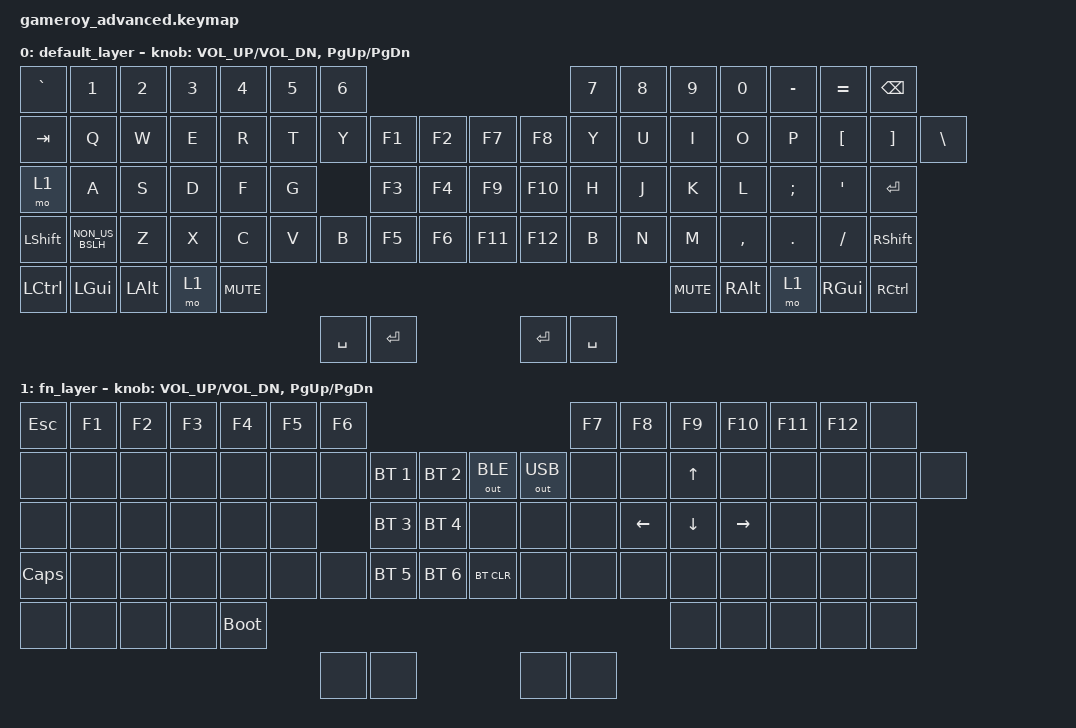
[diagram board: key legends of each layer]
#include <behaviors.dtsi>
#include <dt-bindings/zmk/keys.h>
#include <dt-bindings/zmk/bt.h>
#include <dt-bindings/zmk/outputs.h>
/ {
    keymap {
        compatible = "zmk,keymap";

        default_layer {
// --------------------------------------------------------------------------------------------------------------------------------------------------------------------
// |   `/~   |    1    |    2    |    3    |    4    |    5    |    6    |                                                                       |    7    |    8    |    9    |    0    |    -    |    =    |   BSPC  |
// |   TAB   |    Q    |    W    |    E    |    R    |    T    |    Y    |    |   F1    |   F2    |                  |   F7    |   F8   |    |    Y    |    U    |    I    |    O    |    P    |    [    |    ]    |    \    |
// |   CAPS  |    A    |    S    |    D    |    F    |    G    |              |   F3    |   F4    |                  |   F9    |   F10  |    |    H    |    J    |    K    |    L    |   ;     |    '    |   ENTER |
// |  SHIFT  |    \    |    Z    |    X    |    C    |    V    |    B    |    |   F5    |   F6    |                  |   F11   |   F12  |    |    B    |    N    |    M    |    ,    |    .    |    /    |   SHIFT |
// |  CTRL   | GUI  |  ALT  |  Fn  |                                          |   MUTE  |                                      |  MUTE  |                                           | ALT |  Fn  |  GUI  |   CTRL  | 
// |                                                                |  SPACE  |  ENTER  |                                      |  ENTER |  SPACE  |
// | Left enconder vol up down                                                                                        Right enconder page up down  
            bindings = <
	&kp GRAVE  &kp N1          &kp N2   &kp N3    &kp N4    &kp N5    &kp N6                                                                        &kp N7      &kp N8    &kp N9    &kp N0    &kp MINUS  &kp EQUAL  &kp BSPC
    &kp TAB    &kp Q           &kp W    &kp E     &kp R     &kp T     &kp Y     &kp F1     &kp F2                      &kp F7    &kp F8       &kp Y       &kp U       &kp I     &kp O     &kp P     &kp LBKT   &kp RBKT   &kp BSLH
    &mo 1      &kp A           &kp S    &kp D     &kp F     &kp G               &kp F3     &kp F4                      &kp F9    &kp F10      &kp H       &kp J     &kp K     &kp L     &kp SEMI   &kp APOS   &kp ENTER
    &kp LSHIFT &kp NON_US_BSLH &kp Z    &kp X     &kp C     &kp V     &kp B     &kp F5     &kp F6                      &kp F11   &kp F12      &kp B       &kp N     &kp M     &kp COMMA &kp DOT    &kp SLASH  &kp RSHIFT
    &kp LCTRL  &kp LGUI        &kp LALT &mo 1                                   &kp C_MUTE                                       &kp C_MUTE                                   &kp RALT  &mo 1      &kp RGUI   &kp RCTRL
	                                                                  &kp SPACE &kp ENTER                                        &kp ENTER   &kp SPACE       
            >;

            sensor-bindings = <&inc_dec_kp C_VOL_UP C_VOL_DN &inc_dec_kp PG_UP PG_DN>;
        };

        fn_layer {
// --------------------------------------------------------------------------------------------------------------------------------------------------------------------
// |  ESC    |   F1    |   F2    |   F3    |   F4    |   F5    |   F6    |                                                                   |   F7    |   F8    |   F9    |   F10   |   F11   |   F12   |         |
// |         |         |         |         |         |         |         |    |  BT1    |  BT2    |                  |   BT    |  USB   |    |         |         |         |         |         |         |         |
// |         |         |         |         |         |         |              |  BT3    |  BT4    |                  |         |        |    |         |         |         |         |         |         |         |
// |         |         |         |         |         |         |         |    |  BT5    |  BT6    |                  |BT CLEAR |        |    |         |         |         |         |         |         |         |
// |         |      |       |       |                                         |  RESET  |                                      |        |                                           |      |       |     |         | 
// |                                                                |         |         |                                      |        |         |
// | Left enconder vol up down                                                                              Right enconder page up down  
            bindings = <
	&kp ESC     &kp F1         &kp F2  &kp F3   &kp F4   &kp F5   &kp F6                                                                            &kp F7      &kp F8    &kp F9    &kp F10    &kp F11  &kp F12     &none
    &none       &none          &none   &none    &none    &none    &none      &bt BT_SEL 1 &bt BT_SEL 2         &out OUT_BLE   &out OUT_USB    &none      &none       &kp UP   &none     &none      &none     &none  &none
    &none       &none          &none   &none    &none    &none               &bt BT_SEL 3 &bt BT_SEL 4         &none          &none           &none      &kp LEFT    &kp DOWN   &kp RIGHT     &none      &none     &none
    &kp CAPS    &none          &none   &none    &none    &none    &none      &bt BT_SEL 5 &bt BT_SEL 6         &bt BT_CLR     &none           &none      &none       &none   &none     &none      &none     &none
    &none       &none          &none   &none                                 &bootloader                                            &none                                                  &none  &none   &none   &none
	                                                                  &none  &none                                            &none   &none       
            >;

            sensor-bindings = <&inc_dec_kp C_VOL_UP C_VOL_DN &inc_dec_kp PG_UP PG_DN>;
        };
    };
};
